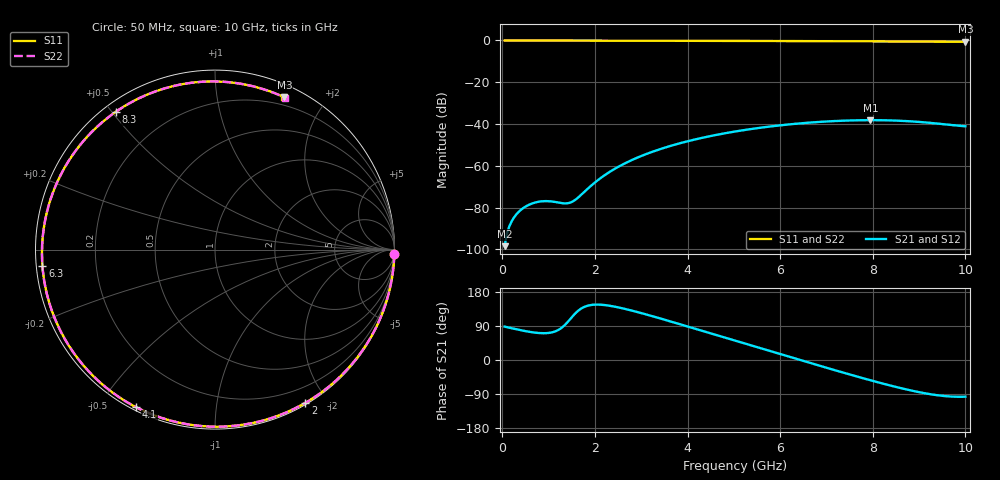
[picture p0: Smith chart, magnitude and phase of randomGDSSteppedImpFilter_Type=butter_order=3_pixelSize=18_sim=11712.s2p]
! freq	dB(S11)	phase(S11)	dB(S12)	phase(S12)
!  dB(S21)	phase(S21)	dB(S22)	phase(S22)
!S-par simulation data
#  GHz  S  DB  R 50
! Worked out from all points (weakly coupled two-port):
!   200 points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, 50 MHz to 10 GHz, reference 50 ohm
!   highest |S21| = -38.14 dB at 7.95 GHz (marker M1); lowest = -98.4 dB at 50 MHz (marker M2)
!   lowest |S11| = -0.6 dB at 10 GHz (marker M3), VSWR 28.51, Z = 5.98 + j77.4 ohm
!   |S11| at or under -10 dB: nowhere
!   |S22| runs from -0.6 to 0.0 dB; largest |S21 - S12| = 0
!   S11 on the Smith chart (normalised r, x): 50 MHz: 1, -74; 2 GHz: 0.02, -1.75; 4.1 GHz: 0.01, -0.62; 6.3 GHz: 0.02, -0.05; 8.3 GHz: 0.04, +0.51; 10 GHz: 0.12, +1.55
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0.05  -0.00 -1.5  -98.44 88.1  -98.44 88.1  -0.00 -1.5
0.45  -0.02 -13.7  -80.24 77.4  -80.24 77.4  -0.02 -13.7
0.85  -0.03 -25.8  -76.98 70.8  -76.98 70.8  -0.03 -25.8
1.45  -0.05 -43.5  -77.73 105.5  -77.73 105.5  -0.05 -43.5
1.6  -0.06 -47.9  -75.86 125.8  -75.86 125.8  -0.06 -47.9
1.75  -0.07 -52.3  -72.90 138.9  -72.90 138.9  -0.07 -52.3
2  -0.08 -59.4  -67.97 146.1  -67.97 146.1  -0.08 -59.4
2.6  -0.10 -76.3  -59.34 136.3  -59.34 136.3  -0.10 -76.3
3.4  -0.13 -98.1  -52.06 110.0  -52.06 110.0  -0.13 -98.1
4.1  -0.16 -116.6  -47.70 84.8  -47.70 84.8  -0.16 -116.6
5.05  -0.21 -141.4  -43.48 50.1  -43.48 50.1  -0.21 -141.4
5.7  -0.26 -158.4  -41.40 26.3  -41.40 26.3  -0.26 -158.5
6.3  -0.30 -174.6  -39.94 4.5  -39.94 4.5  -0.30 -174.6
6.7  -0.34 174.3  -39.21 -9.9  -39.21 -9.9  -0.34 174.3
7.35  -0.39 155.5  -38.40 -32.9  -38.40 -32.9  -0.40 155.5
7.95  -0.45 137.1  -38.14 -53.5  -38.14 -53.5  -0.45 137.0
8.3  -0.48 125.7  -38.22 -64.9  -38.22 -64.9  -0.48 125.7
8.35  -0.49 124.1  -38.25 -66.5  -38.25 -66.5  -0.49 124.0
8.8  -0.53 108.9  -38.68 -79.7  -38.68 -79.7  -0.53 108.7
9.2  -0.56 94.8  -39.35 -89.4  -39.35 -89.4  -0.56 94.6
9.6  -0.58 80.3  -40.24 -95.7  -40.24 -95.7  -0.59 80.1
10  -0.61 65.5  -41.07 -96.8  -41.07 -96.8  -0.61 65.3
